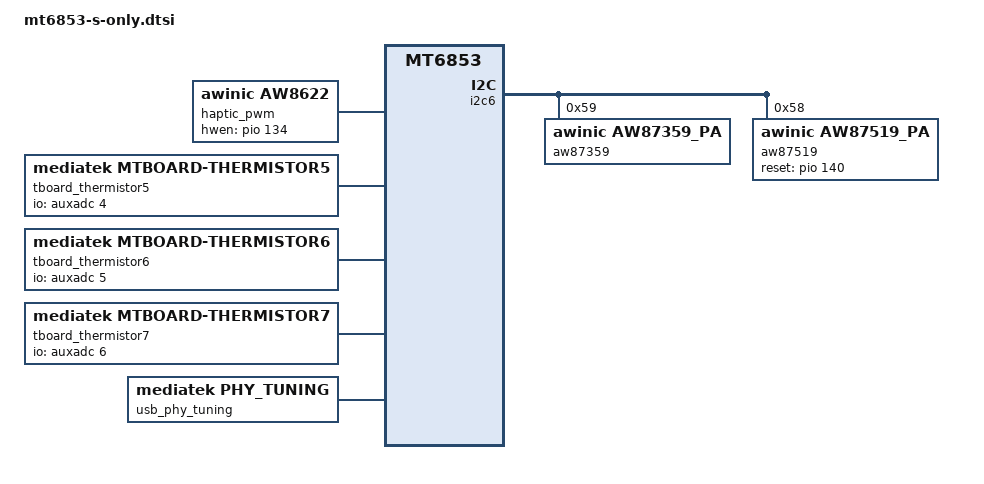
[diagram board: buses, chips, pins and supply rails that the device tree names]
/*
 * S-only base nodes.
 *
 * /pinctrl/thermal-message exists in the stock S dtb but not in
 * cannon-r-oss. It is the target of the thermal_message overlay fragment
 * in cannon-s-only.dtsi.
 */

&pio {
	thermal_message: thermal-message {
	};
};

&i2c9 {
#include "mediatek/pm8008.dtsi"
#include "mediatek/fan53870.dtsi"
};

/ {
    ts_novatek: ts_novatek { };
    ts_focal: ts_focal { };
    xiaomi_touch: xiaomi_touch { };

	haptic_pwm: haptic_pwm {
		compatible = "awinic,aw8622";
		pwm_data_invert = <0>;
		hwen-gpio = <&pio 134 0>;
		pwm_ch = <0>;
		waveform_sample_period = <41666>;
		center_freq = <208>;
		default_pwm_freq = <26000>;
		pinctrl-names = "haptic_gpio_aw8622_default", "haptic_gpio_aw8622_set";
		pinctrl-0 = <&haptic_gpio_aw8622_default>;
		pinctrl-1 = <&haptic_gpio_aw8622_set>;
		status = "okay";
	};

	soter-shared-mem {
		compatible = "microtrust,shared_mem";
		no-map;
		size = <0 0x800000>;
		alignment = <0 0x1000000>;
		alloc-ranges = <0 0x40000000 0 0x50000000>;
	};

	tboard_thermistor5: thermal-sensor5 {
		compatible = "mediatek,mtboard-thermistor5";
		io-channels = <&auxadc 4>;
		io-channel-names = "thermistor-ch4";
	};

	tboard_thermistor6: thermal-sensor6 {
		compatible = "mediatek,mtboard-thermistor6";
		io-channels = <&auxadc 5>;
		io-channel-names = "thermistor-ch5";
	};

	tboard_thermistor7: thermal-sensor7 {
		compatible = "mediatek,mtboard-thermistor7";
		io-channels = <&auxadc 6>;
		io-channel-names = "thermistor-ch6";
	};
};

&i2c6 {
	aw87359: aw87359@59 {
		compatible = "awinic,aw87359_pa";
		reg = <0x59>;
		status = "okay";
	};

	aw87519: aw87519@58 {
		compatible = "awinic,aw87519_pa";
		reg = <0x58>;
		reset-gpio = <&pio 140 0>;
		status = "okay";
	};
};

&pio {
	haptic_gpio_aw8622_default: haptic_gpio_aw8622_default@gpio131 {
		pins_cmd_dat {
			pinmux = <PINMUX_GPIO131__FUNC_GPIO131>;
			slew-rate = <1>;
			bias-disable;
			output-low;
			input-schmitt-enable = <0>;
		};
	};

	haptic_gpio_aw8622_set: haptic_gpio_aw8622_set@gpio131 {
		pins_cmd_dat {
			pinmux = <PINMUX_GPIO131__FUNC_PWM_0>;
			slew-rate = <1>;
			output-high;
		};
	};
};

&usb0phy {
	usb_phy_tuning {
		compatible = "mediatek,phy_tuning";
		u2_vrt_ref_cn  = <5>;
		u2_term_ref_cn = <5>;
		u2_enhance_cn  = <2>;
		u2_intr_cal_cn = <18>;
		u2_discth_cn   = <7>;
		u2_vrt_ref_gl_jp  = <4>;
		u2_term_ref_gl_jp = <4>;
		u2_enhance_gl_jp  = <3>;
		u2_intr_cal_gl_jp = <20>;
		u2_discth_gl_jp   = <7>;
	};
};
